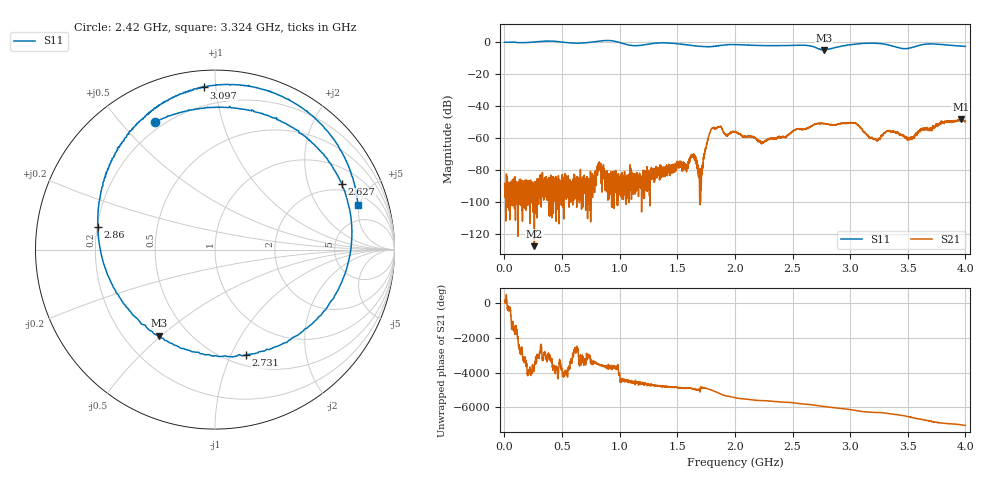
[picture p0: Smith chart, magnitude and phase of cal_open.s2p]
!Created with skrf (http://scikit-rf.org).
# GHz S RI R 50.0
!freq ReS11 ImS11 ReS21 ImS21 ReS12 ImS12 ReS22 ImS22
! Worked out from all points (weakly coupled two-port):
!   4000 points, 1 MHz to 4 GHz, reference 50 ohm
!   highest |S21| = -48.30 dB at 3.959 GHz (marker M1); lowest = -127.8 dB at 259 MHz (marker M2)
!   lowest |S11| = -4.9 dB at 2.773 GHz (marker M3), VSWR 3.66, Z = 17.3 - j24.6 ohm
!   |S11| at or under -10 dB: nowhere
!   S12 and S22 are empty: the file has one direction only
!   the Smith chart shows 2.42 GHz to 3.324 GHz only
!   S11 on the Smith chart (normalised r, x): 2.42 GHz: 0.17, +0.62; 2.627 GHz: 1.69, +3.34; 2.731 GHz: 0.61, -1.14; 2.86 GHz: 0.20, +0.09; 3.097 GHz: 0.09, +0.93; 3.324 GHz: 2.90, +4.82
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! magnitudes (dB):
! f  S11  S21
! 1 MHz  0.0  -88.5
! 259 MHz  0.2  -127.8
! 668 MHz  -0.6  -91.5
! 1.334 GHz  -0.4  -82.0
! 1.575 GHz  -1.6  -77.4
! 1.633 GHz  -2.1  -71.8
! 1.698 GHz  -2.6  -101.9
! 1.801 GHz  -2.7  -53.9
! 2.001 GHz  -1.5  -56.3
! 2.42 GHz  -2.1  -59.3
! 2.627 GHz  -2.0  -53.8
! 2.667 GHz  -2.5  -52.5
! 2.731 GHz  -4.3  -51.0
! 2.773 GHz  -4.9  -51.0
! 2.86 GHz  -3.5  -51.8
! 3.097 GHz  -0.9  -54.0
! 3.22 GHz  -0.7  -60.4
! 3.324 GHz  -1.6  -55.6
! 3.334 GHz  -1.7  -55.7
! 3.52 GHz  -3.7  -59.5
! 3.959 GHz  -2.4  -48.3
! 4 GHz  -2.6  -49.7
